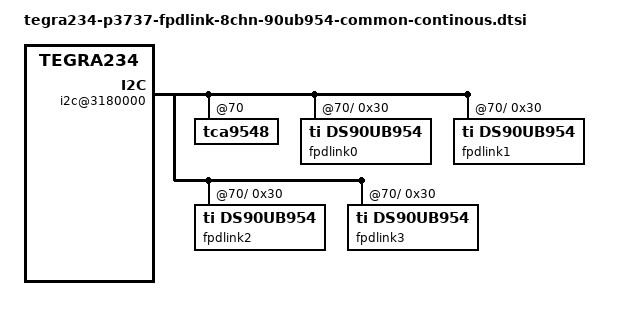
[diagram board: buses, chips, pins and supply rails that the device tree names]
/*
 * Copyright (c) 2018-2019, NVIDIA CORPORATION.  All rights reserved.
 *
 * This program is free software; you can redistribute it and/or modify
 * it under the terms of the GNU General Public License as published by
 * the Free Software Foundation; either version 2 of the License, or
 * (at your option) any later version.
 *
 * This program is distributed in the hope that it will be useful, but WITHOUT
 * ANY WARRANTY; without even the implied warranty of MERCHANTABILITY or
 * FITNESS FOR A PARTICULAR PURPOSE.  See the GNU General Public License for
 * more details.
 *
 * You should have received a copy of the GNU General Public License
 * along with this program.  If not, see <http://www.gnu.org/licenses/>.
 */

/ {
    fragment-fpdlink@0 {
        target-path = "/";
        __overlay__ {
                    bus@0 {
                        i2c@3180000 {
                            tca9548@70 {
                            i2c@0 {
                                fpdlink0: ds90ub954_a@30 {
                                compatible = "ti,ds90ub954";
                                reg = <0x30>;
                                status = "okay";
                                csi-lane-count = <4>;
                                csi-lane-speed = <800>;
                                continuous-clock;
                                //pdb-gpio = <&gpio TEGRA_GPIO(S, 7) 0>;
                                //pass-gpio = <&gpio TEGRA_GPIO(S, 0) 0>;
                                //lock-gpio = <&gpio TEGRA_GPIO(T, 0) 0>;
                                i2c_address_s0: num-alias-pairs0 {list-cells = <1>;};
                                i2c_address_s1: num-alias-pairs1 {list-cells = <1>;};
                                serializers {
                                    status = "okay";
                                    num-channels = <2>;
                                    #address-cells = <1>;
                                    #size-cells = <0>;
                                    serializer@0 {
                                        status = "okay";
                                        rx-channel=<0>;
                                        i2c-address=<0x19>;
                                        csi-lane-count = <2>;
                                        continuous-clock;
                                        virtual-channel-map = <0x0>;
                                        i2c-slave = <&i2c_address_s0 0x3b>;
                                        slave-alias = <&i2c_address_s0 0x3b>;
                                    };
                                    serializer@1 {
                                        status = "okay";
                                        //status = "disabled";
                                        rx-channel=<1>;
                                        i2c-address=<0x20>;
                                        csi-lane-count = <2>;
                                        continuous-clock;
                                        virtual-channel-map = <0x1>;
                                        i2c-slave = <&i2c_address_s1 0x3b>;
                                        slave-alias = <&i2c_address_s1 0x3c>;
                                    };
                                };
                            };
                        };
                        i2c@1 {
                                fpdlink1: ds90ub954_b@30 {
                                compatible = "ti,ds90ub954";
                                reg = <0x30>;
                                status = "okay";
                                //status = "disabled";
                                csi-lane-count = <4>;
                                csi-lane-speed = <800>;
                                continuous-clock;
                                //pdb-gpio = <&gpio TEGRA_GPIO(S, 7) 0>;
                                //pass-gpio = <&gpio TEGRA_GPIO(S, 0) 0>;
                                //lock-gpio = <&gpio TEGRA_GPIO(T, 0) 0>;
                                i2c_address_s2: num-alias-pairs0 {list-cells = <1>;};
                                i2c_address_s3: num-alias-pairs1 {list-cells = <1>;};
                                serializers {
                                    status = "okay";
                                    num-channels = <2>;
                                    #address-cells = <1>;
                                    #size-cells = <0>;
                                    serializer@0 {
                                        status = "okay";
                                        rx-channel=<0>;
                                        i2c-address=<0x19>;
                                        csi-lane-count = <2>;
                                        continuous-clock;
                                        virtual-channel-map = <0x0>;
                                        i2c-slave = <&i2c_address_s2 0x3b>;
                                        slave-alias = <&i2c_address_s2 0x3b>;
                                    };
                                    serializer@1 {
                                        status = "okay";
                                        rx-channel=<1>;
                                        i2c-address=<0x20>;
                                        csi-lane-count = <2>;
                                        continuous-clock;
                                        virtual-channel-map = <0x1>;
                                        i2c-slave = <&i2c_address_s3 0x3b>;
                                        slave-alias = <&i2c_address_s3 0x3c>;
                                    };
                                };
                            };
                        };
                        i2c@2 {
                                fpdlink2: ds90ub954_c@30 {
                                compatible = "ti,ds90ub954";
                                reg = <0x30>;
                                status = "okay";
                                //status = "disabled";
                                csi-lane-count = <4>;
                                csi-lane-speed = <800>;
                                continuous-clock;
                                //pdb-gpio = <&gpio TEGRA_GPIO(S, 7) 0>;
                                //pass-gpio = <&gpio TEGRA_GPIO(S, 0) 0>;
                                //lock-gpio = <&gpio TEGRA_GPIO(T, 0) 0>;
                                i2c_address_s4: num-alias-pairs0 {list-cells = <1>;};
                                i2c_address_s5: num-alias-pairs1 {list-cells = <1>;};
                                serializers {
                                    status = "okay";
                                    num-channels = <2>;
                                    #address-cells = <1>;
                                    #size-cells = <0>;
                                    serializer@0 {
                                        status = "okay";
                                        rx-channel=<0>;
                                        i2c-address=<0x19>;
                                        csi-lane-count = <2>;
                                        continuous-clock;
                                        virtual-channel-map = <0x0>;
                                        i2c-slave = <&i2c_address_s4 0x3b>;
                                        slave-alias = <&i2c_address_s4 0x3b>;
                                    };
                                    serializer@1 {
                                        status = "okay";
                                        rx-channel=<1>;
                                        i2c-address=<0x20>;
                                        csi-lane-count = <2>;
                                        continuous-clock;
                                        virtual-channel-map = <0x1>;
                                        i2c-slave = <&i2c_address_s5 0x3b>;
                                        slave-alias = <&i2c_address_s5 0x3c>;
                                    };
                                };
                            };
                        };
                        i2c@3 {
                                fpdlink3: ds90ub954_d@30 {
                                compatible = "ti,ds90ub954";
                                reg = <0x30>;
                                status = "okay";
                                //status = "disabled";
                                csi-lane-count = <4>;
                                csi-lane-speed = <800>;
                                continuous-clock;
                                //pdb-gpio = <&gpio TEGRA_GPIO(S, 7) 0>;
                                //pass-gpio = <&gpio TEGRA_GPIO(S, 0) 0>;
                                //lock-gpio = <&gpio TEGRA_GPIO(T, 0) 0>;
                                i2c_address_s6: num-alias-pairs0 {list-cells = <1>;};
                                i2c_address_s7: num-alias-pairs1 {list-cells = <1>;};
                                serializers {
                                    status = "okay";
                                    num-channels = <2>;
                                    #address-cells = <1>;
                                    #size-cells = <0>;
                                    serializer@0 {
                                        status = "okay";
                                        rx-channel=<0>;
                                        i2c-address=<0x19>;
                                        csi-lane-count = <2>;
                                        continuous-clock;
                                        virtual-channel-map = <0x0>;
                                        i2c-slave = <&i2c_address_s6 0x3b>;
                                        slave-alias = <&i2c_address_s6 0x3b>;
                                    };
                                    serializer@1 {
                                        status = "okay";
                                        rx-channel=<1>;
                                        i2c-address=<0x20>;
                                        csi-lane-count = <2>;
                                        continuous-clock;
                                        virtual-channel-map = <0x1>;
                                        i2c-slave = <&i2c_address_s7 0x3b>;
                                        slave-alias = <&i2c_address_s7 0x3c>;
                                    };
                                };
                            };
                        };
                    };
                };
            };
        };
    };
};
